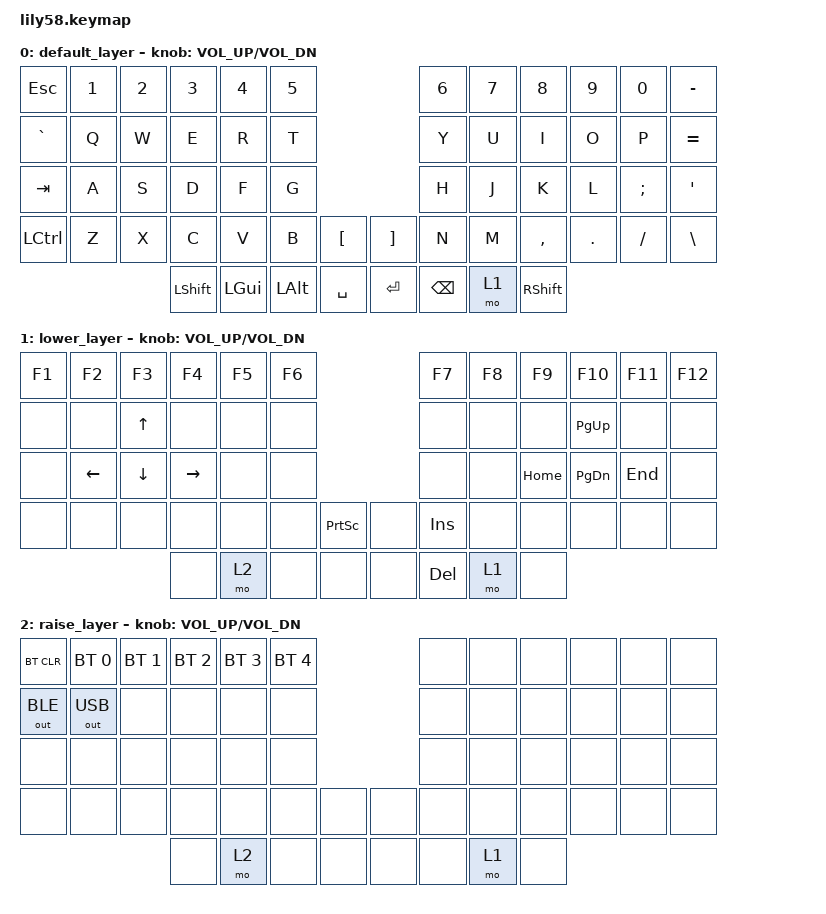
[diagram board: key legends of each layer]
/*
 * Copyright (c) 2020 The ZMK Contributors
 *
 * SPDX-License-Identifier: MIT
 */

#include <behaviors.dtsi>
#include <dt-bindings/zmk/keys.h>
#include <dt-bindings/zmk/bt.h>
#include <dt-bindings/zmk/ext_power.h>
#include <dt-bindings/zmk/outputs.h>

/ {
    keymap {
        compatible = "zmk,keymap";

        default_layer {
// ---------------------------------------------------------------------------------------------------------------------------------------------------------------------------------
// | ESC     | 1          | 2          | 3          | 4          | 5          |                         | 6          | 7          | 8          | 9          | 0          | -       |
// | `       | Q          | W          | E          | R          | T          |                         | Y          | U          | I          | O          | P          | =       |
// | TAB     | A          | S          | D          | F          | G          |                         | H          | J          | K          | L          | ;          | '       |
// | CTRL    | Z          | X          | C          | V          | B          | "["        | "]"        | N          | M          | ,          | .          | /          | \       |
//                                     | SHIFT      | GUI        | ALT        | SPACE      | ENTER      | BSPC       | LOWER      | SHIFT      |
            bindings = <
&kp ESC      &kp N1       &kp N2       &kp N3       &kp N4       &kp N5                                 &kp N6       &kp N7       &kp N8       &kp N9       &kp N0       &kp MINUS
&kp GRAVE    &kp Q        &kp W        &kp E        &kp R        &kp T                                  &kp Y        &kp U        &kp I        &kp O        &kp P        &kp EQUAL
&kp TAB      &kp A        &kp S        &kp D        &kp F        &kp G                                  &kp H        &kp J        &kp K        &kp L        &kp SEMI     &kp SQT
&kp LCTRL    &kp Z        &kp X        &kp C        &kp V        &kp B        &kp LBKT     &kp RBKT     &kp N        &kp M        &kp COMMA    &kp DOT      &kp FSLH     &kp BSLH
                                       &kp LSHFT    &kp LGUI     &kp LALT     &kp SPACE    &kp RET      &kp BSPC     &mo 1        &kp RSHFT
            >;

            sensor-bindings = <&inc_dec_kp C_VOL_UP C_VOL_DN>;
        };

        lower_layer {
// ---------------------------------------------------------------------------------------------------------------------------------------------------------------------------------
// | F1      | F2         | F3         | F4         | F5         | F6         |                         | F7         | F8         | F9         | F10        | F11        | F12     | 
// |         |            | ^          |            |            |            |                         |            |            |            | PG_UP      |            |         |
// |         | <-         | v          | ->         |            |            |                         |            |            | HOME       | PG_DN      | END        |         |
// |         |            |            |            |            |            | PSCRN      |            | INS        |            |            |            |            |         |
//                                     |            | RAISE      |            |            |            | DEL        | LOWER      |            |
            bindings = <
&kp F1       &kp F2       &kp F3       &kp F4       &kp F5       &kp F6                                 &kp F7       &kp F8       &kp F9       &kp F10      &kp F11      &kp F12
&none        &none        &kp UP       &none        &none        &none                                  &none        &none        &none        &kp PG_UP    &none        &none 
&none        &kp LEFT     &kp DOWN     &kp RIGHT    &none        &none                                  &none        &none        &kp HOME     &kp PG_DN    &kp END      &none 
&none        &none        &none        &none        &none        &none        &kp PSCRN    &none        &kp INS      &none        &none        &none        &none        &none 
                                       &none        &mo 2        &none        &none        &none        &kp DEL      &mo 1        &none  

            >;

            sensor-bindings = <&inc_dec_kp C_VOL_UP C_VOL_DN>;
        };

        raise_layer {
// ---------------------------------------------------------------------------------------------------------------------------------------------------------------------------------
// | BTCLR   | BT1        | BT2        | BT3        | BT4        | BT5        |                         |            |            |            |            |            |         |
// | OUT_BLE | OUT_USB    |            |            |            |            |                         |            |            |            |            |            |         |
// |         |            |            |            |            |            |                         |            |            |            |            |            |         |
// |         |            |            |            |            |            |            |            |            |            |            |            |            |         |
//                                     |            | RAISE      |            |            |            |            | LOWER      |            |  
            bindings = <
&bt BT_CLR   &bt BT_SEL 0 &bt BT_SEL 1 &bt BT_SEL 2 &bt BT_SEL 3 &bt BT_SEL 4                           &none        &none        &none        &none        &none        &none 
&out OUT_BLE &out OUT_USB &none        &none        &none        &none                                  &none        &none        &none        &none        &none        &none 
&none        &none        &none        &none        &none        &none                                  &none        &none        &none        &none        &none        &none 
&none        &none        &none        &none        &none        &none        &none        &none        &none        &none        &none        &none        &none        &none 
                                       &none        &mo 2        &none        &none        &none        &none        &mo 1        &none 

            >;

            sensor-bindings = <&inc_dec_kp C_VOL_UP C_VOL_DN>;
        };
    };
};
